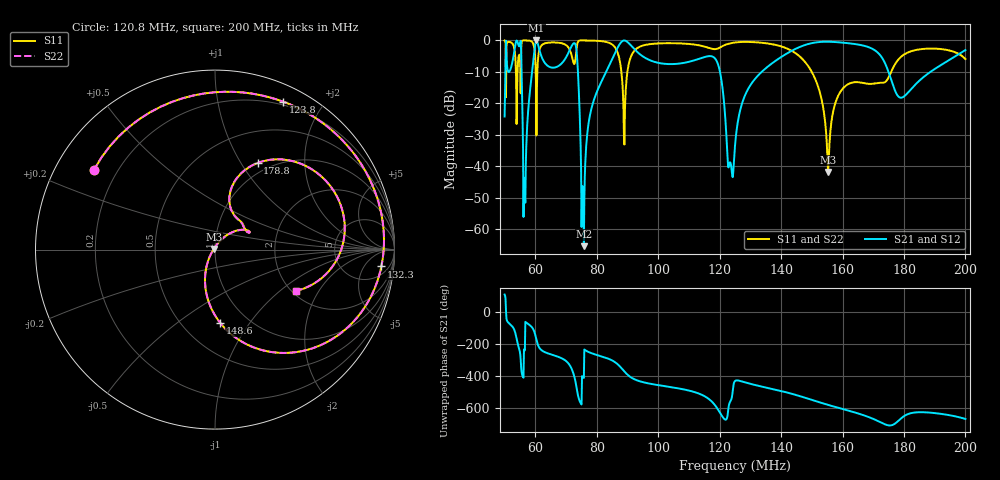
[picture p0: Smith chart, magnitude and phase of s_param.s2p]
! TOUCHSTONE file generated by CST MICROWAVE STUDIO
! Date and time: Mon Sep  2 13:04:57 2024
! Project name: MRI Body Coil 60cm 3T w phantom - wo meshrefiner - FD - Open Boundaries Add Space - NoMTS.cst
! Parameters = {C=17.8; C_tune_1=17.8; C_tune_2=17.8; Cs=9.73; L_tune=0; R_tune=40; Rs=1.09121; phantom_x_max=85; phantom_x_min=-85; phantom_y_max=-1.508; phantom_y_min=-31.508; phantom_z_max=360; phantom_z_min=240; state=21; state_2=8}
! Header version: 2024
! Port assignment regex: !\s*Touchstone port\s*([0-9]+)\s*=\s*(CST MWS port|CST DES external port|CST DES block port)\s*(.+)\s* \(\"(.*)\"\)(\s*mode\s*([0-9]+))?.*
! Touchstone port assignment:
! Touchstone port 1 = CST MWS port 1 ("")
! Touchstone port 2 = CST MWS port 5 ("")
# MHz S RI R 50
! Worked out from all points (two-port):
!   1001 points, 50 MHz to 200 MHz, reference 50 ohm
!   highest |S21| = 0.00 dB at 60.35 MHz (marker M1); lowest = -65.5 dB at 75.8 MHz (marker M2)
!   |S21| within 3 dB of the highest: 86.43 MHz to 92.47 MHz (6.045 MHz wide, 6.76 % of centre); 144 MHz to 170.3 MHz (26.31 MHz wide, 16.7 % of centre)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
!   lowest |S11| = -41.8 dB at 155.3 MHz (marker M3), VSWR 1.02, Z = 49.3 + j0.389 ohm
!   |S11| at or under -10 dB: 53.68 MHz to 54.2 MHz (523.6 kHz wide, 0.971 % of centre); 88.01 MHz to 89.97 MHz (1.96 MHz wide, 2.2 % of centre); 150 MHz to 175.8 MHz (25.85 MHz wide, 15.9 % of centre)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
!   |S22| runs from -42.2 to 0.0 dB; largest |S21 - S12| = 0.0005
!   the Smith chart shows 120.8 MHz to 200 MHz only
!   S11 on the Smith chart (normalised r, x): 120.8 MHz: 0.12, +0.30; 123.8 MHz: 0.17, +1.55; 132.3 MHz: 9, -13; 148.6 MHz: 0.75, -0.73; 178.8 MHz: 0.87, +1.19; 200 MHz: 2.10, -1.30
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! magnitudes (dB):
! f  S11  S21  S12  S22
! 50 MHz  0.0  -24.2  -24.2  0.0
! 54.65 MHz  -4.7  -1.8  -1.8  -4.7
! 56.75 MHz  0.0  -51.6  -51.6  0.0
! 60.35 MHz  -30.2  0.0  0.0  -30.2
! 72.8 MHz  -7.3  -0.9  -0.9  -7.3
! 75.05 MHz  0.0  -59.4  -59.4  0.0
! 75.8 MHz  0.0  -65.5  -65.5  0.0
! 78.35 MHz  0.0  -21.3  -21.3  0.0
! 87.05 MHz  -4.7  -1.8  -1.8  -4.7
! 89 MHz  -33.1  0.0  0.0  -33.1
! 100.1 MHz  -0.9  -7.1  -7.1  -0.9
! 120.8 MHz  -1.9  -14.1  -14.1  -1.9
! 123.8 MHz  -0.8  -40.3  -40.3  -0.8
! 125 MHz  -0.6  -33.5  -33.5  -0.6
! 132.3 MHz  -0.6  -11.3  -11.3  -0.6
! 148.6 MHz  -7.8  -1.2  -1.2  -7.8
! 150.1 MHz  -10.1  -0.8  -0.8  -10.1
! 155.3 MHz  -41.8  -0.4  -0.4  -42.2
! 160.1 MHz  -15.3  -0.7  -0.7  -15.3
! 175.1 MHz  -11.6  -10.4  -10.4  -11.5
! 178.8 MHz  -5.4  -18.2  -18.2  -5.4
! 200 MHz  -5.9  -3.1  -3.1  -5.9
